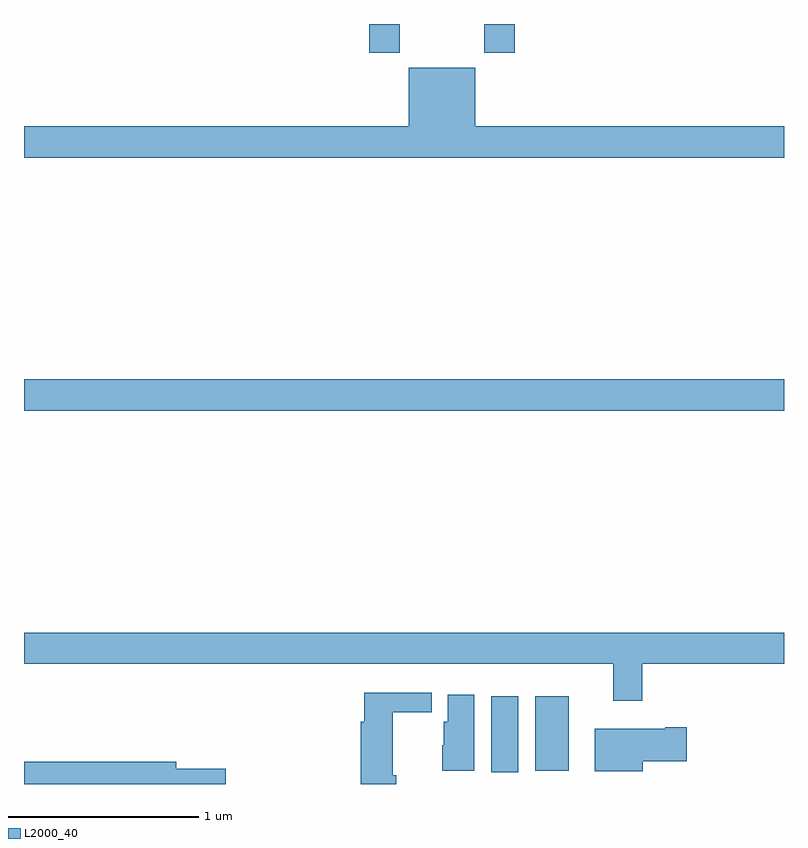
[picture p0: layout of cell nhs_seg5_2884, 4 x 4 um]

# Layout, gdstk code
import gdstk
lib = gdstk.Library(unit=1e-6, precision=1e-09)
def R(c, l, rs):  # rectangles x0, y0, x1, y1
    for r in rs: c.add(gdstk.rectangle(r[:2], r[2:], *l))
def P(c, l, *ps):  # polygons
    for p in ps: c.add(gdstk.Polygon(p, *l))
L2000_40 = (2000, 40)

nhs_seg5_2884 = lib.new_cell('nhs_seg5_2884')
R(nhs_seg5_2884, L2000_40, [(281.459,850.86,281.602,851.26), (281.69,850.868,281.866,851.26), (279,852.764,283,852.928), (280.817,854.649,280.977,854.799), (281.422,854.649,281.582,854.799)])
P(nhs_seg5_2884, L2000_40, [(283,854.26),(281.374,854.26),(281.374,854.569),(281.024,854.569),(281.024,854.26),(279,854.26),(279,854.096),(283,854.096)],
  [(282.254,851.432),(283,851.432),(283,851.596),(279,851.596),(279,851.432),(282.101,851.432),(282.101,851.238),(282.254,851.238)],
  [(280.96,850.846),(280.942,850.846),(280.942,851.176),(281.146,851.176),(281.146,851.278),(280.79,851.278),(280.79,851.127),(280.772,851.127),(280.772,850.799),(280.96,850.799)],
  [(281.371,851.269),(281.231,851.269),(281.231,851.127),(281.21,851.127),(281.21,851.004),(281.201,851.004),(281.201,850.868),(281.371,850.868)],
  [(282.256,850.919),(282.487,850.919),(282.487,851.097),(282.374,851.097),(282.374,851.089),(282.005,851.089),(282.005,850.865),(282.256,850.865)],
  [(280.063,850.88),(279.802,850.88),(279.802,850.916),(279,850.916),(279,850.799),(280.063,850.799)])

lib.write_gds('nhs_seg5_2884.gds')
